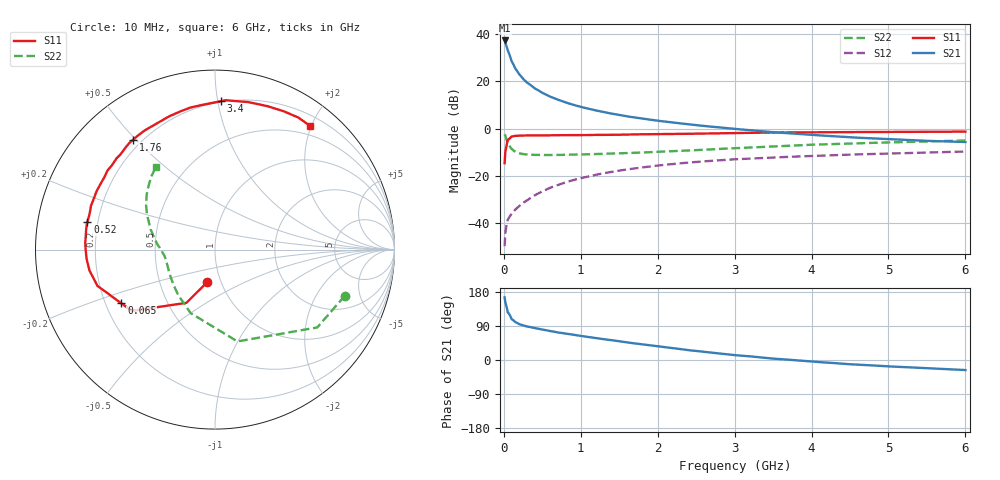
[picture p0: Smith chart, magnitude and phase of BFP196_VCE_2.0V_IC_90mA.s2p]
! Infineon Technologies  Discrete & RF Semiconductors
! BFP196
! VCE = 2.0 V,  IC =  90mA
! Common Emitter S-Parameters:  Jan 2016
# GHz  S  MA  R  50
!  f  S11  S21  S12  S22
! GHz  MAG  ANG  MAG  ANG  MAG  ANG  MAG  ANG
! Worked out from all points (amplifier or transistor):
!   210 points, 10 MHz to 6 GHz, reference 50 ohm
!   highest |S21| = 37.3 dB at 10 MHz (marker M1)
!   |S21| within 3 dB of that: start of sweep to 39.55 MHz
!   unconditionally stable (mu >= 1): 280.2 MHz to 5.403 GHz; 5.598 GHz to end of sweep
!   at 185 MHz: K = 0.87, MSG = 28.5 dB, |S12| = -33.1 dB
!   at 1.52 GHz: K = 1.10, MAG = 9.7 dB, |S12| = -17.6 dB
!   at 6 GHz: K = 1.00, MAG = 1.7 dB, |S12| = -9.6 dB
!   S11 on the Smith chart (normalised r, x): 10 MHz: 0.86, -0.32; 65 MHz: 0.27, -0.25; 520 MHz: 0.16, +0.11; 1.76 GHz: 0.17, +0.49; 3.4 GHz: 0.19, +1.02; 6 GHz: 0.35, +1.99
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0.01  0.1871 -103.6  73.61 165.2  0.0033 73.4  0.7675 -19.6
0.02  0.3366 -118.2  66.99 151.4  0.0064 65.6  0.7161 -37.3
0.05  0.5757 -143.6  46.13 126.0  0.0118 53.3  0.5266 -76.3
0.065  0.601 -150.1  40.09 122.4  0.013 52.7  0.4666 -84.3
0.1  0.6853 -162.8  27.05 108.0  0.0159 51.6  0.379 -111.0
0.15  0.7092 -170.6  18.67 99.8  0.0196 55.4  0.3263 -128.8
0.2  0.7173 -175.9  14.2 94.6  0.0232 59.0  0.3033 -139.7
0.24  0.7198 -178.9  11.92 92.0  0.0264 60.6  0.2936 -145.9
0.26  0.7211 179.7  10.99 90.7  0.0279 61.5  0.2905 -148.4
0.3  0.7237 177.1  9.517 88.5  0.0305 63.6  0.2863 -152.3
0.4  0.7261 172.1  7.188 84.0  0.0391 65.6  0.2804 -159.3
0.52  0.7274 167.7  5.563 79.6  0.0492 66.6  0.2788 -164.4
0.7  0.7328 160.5  4.131 72.8  0.0647 66.3  0.2801 -169.1
1.02  0.7355 149.5  2.851 63.0  0.0918 63.2  0.2867 -174.4
1.3  0.7419 140.6  2.248 54.9  0.1151 59.3  0.2954 -178.0
1.76  0.7638 126.8  1.68 42.3  0.1497 52.5  0.3129 176.8
2.02  0.7708 119.9  1.466 35.7  0.1684 48.3  0.327 173.5
3.1  0.8117 93.6  0.963 11.3  0.2303 31.6  0.3948 158.4
3.4  0.8273 87.8  0.874 5.8  0.2434 27.3  0.4165 154.4
4.1  0.843 75.8  0.726 -5.5  0.2699 18.5  0.4657 145.5
5.1  0.8619 62.3  0.596 -17.7  0.303 7.2  0.5192 134.9
6  0.8689 52.3  0.525 -26.5  0.3305 -2.8  0.5652 125.8
